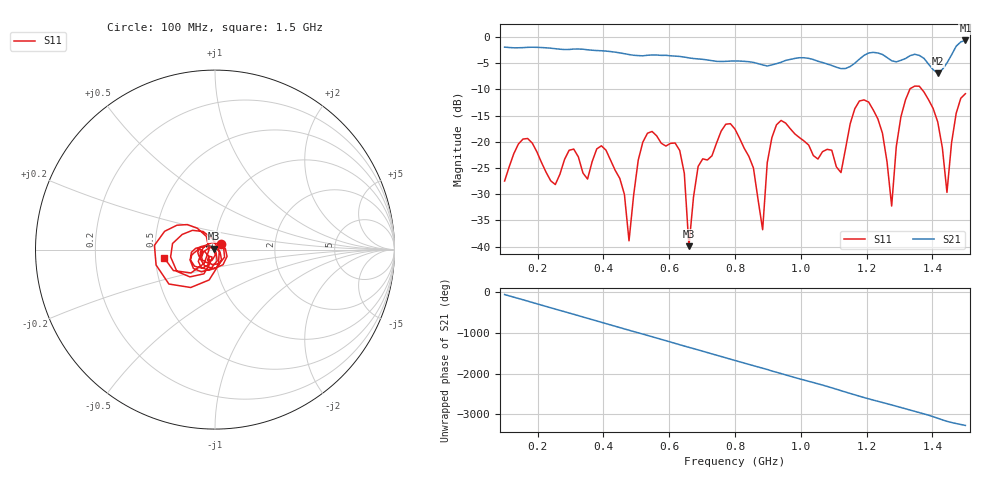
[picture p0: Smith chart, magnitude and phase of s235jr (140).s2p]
! NanoVNA-App
! Date: 2025-09-25 15:05:15
! Start: 100MHz Stop: 1,5GHz Points: 101
! S-Parameter data: F S11 S21 S12 S22
# Hz S RI R 50
!  Frequency  S11_Real  S11_Imag  S21_Real  S21_Imag  S12_Real  S12_Imag  S22_Real  S22_Imag
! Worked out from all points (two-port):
!   101 points, 100 MHz to 1.5 GHz, reference 50 ohm
!   highest |S21| = -0.69 dB at 1.5 GHz (marker M1); lowest = -6.9 dB at 1.416 GHz (marker M2)
!   |S21| within 3 dB of the highest: start of sweep to 622.1 MHz; 1.189 GHz to 1.256 GHz (66.83 MHz wide, 5.47 % of centre) (the widest 2 of 4)
!   lowest |S11| = -39.9 dB at 660 MHz (marker M3), VSWR 1.02, Z = 49.2 + j0.589 ohm
!   |S11| at or under -10 dB: start of sweep to 1.331 GHz; 1.368 GHz to end of sweep
!   S12 and S22 are empty: the file has one direction only
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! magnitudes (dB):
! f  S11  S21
! 100 MHz  -27.5  -2.0
! 170 MHz  -19.4  -2.0
! 338 MHz  -26.0  -2.4
! 408 MHz  -21.6  -2.7
! 478 MHz  -38.9  -3.4
! 520 MHz  -20.1  -3.6
! 576 MHz  -20.3  -3.5
! 632 MHz  -21.7  -3.7
! 660 MHz  -39.9  -4.0
! 688 MHz  -24.7  -4.2
! 800 MHz  -17.6  -4.6
! 884 MHz  -36.8  -5.4
! 898 MHz  -24.0  -5.6
! 926 MHz  -16.8  -5.1
! 1.038 GHz  -22.6  -4.3
! 1.122 GHz  -25.9  -6.1
! 1.206 GHz  -12.4  -3.1
! 1.276 GHz  -32.3  -4.6
! 1.332 GHz  -9.9  -3.6
! 1.416 GHz  -16.2  -6.9
! 1.444 GHz  -29.6  -5.0
! 1.5 GHz  -10.8  -0.7
